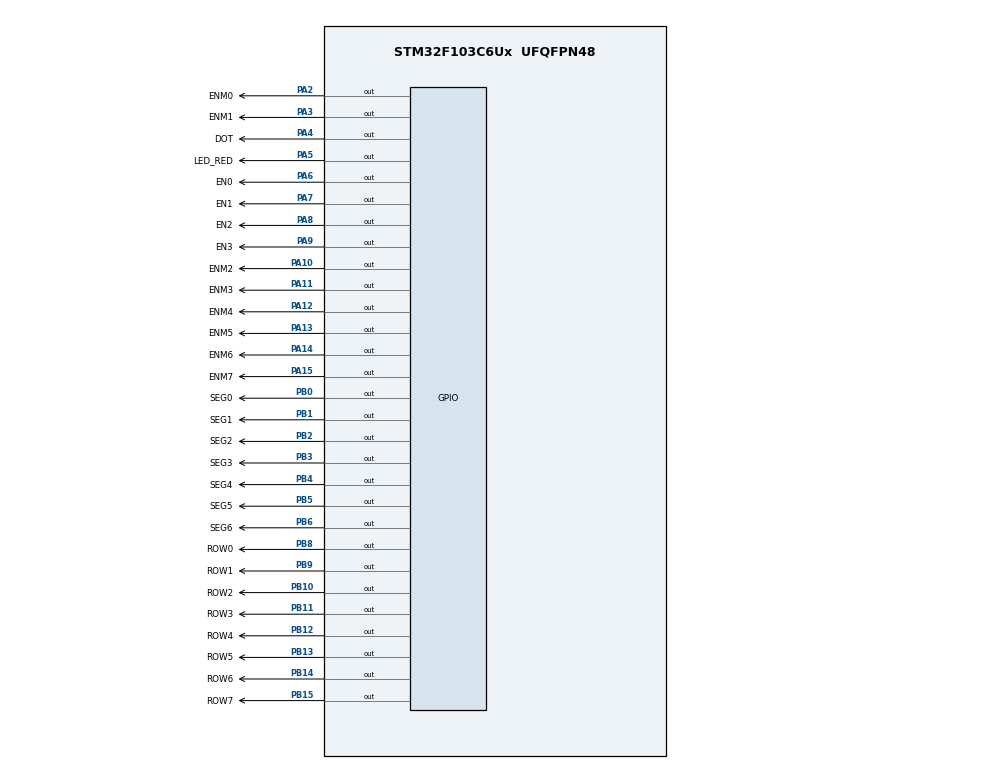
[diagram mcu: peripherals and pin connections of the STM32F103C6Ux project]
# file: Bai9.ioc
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Mcu.Family=STM32F1
Mcu.Name=STM32F103C6Ux
Mcu.Package=UFQFPN48
NVIC.PriorityGroup=NVIC_PRIORITYGROUP_4
NVIC.TIM2_IRQn=true\:0\:0\:false\:false\:true\:true\:true\:true
PA10.GPIO_Label=ENM2
PA10.Signal=GPIO_Output
PA11.GPIO_Label=ENM3
PA11.Signal=GPIO_Output
PA12.GPIO_Label=ENM4
PA12.Signal=GPIO_Output
PA13.GPIO_Label=ENM5
PA13.Signal=GPIO_Output
PA14.GPIO_Label=ENM6
PA14.Signal=GPIO_Output
PA15.GPIO_Label=ENM7
PA15.Signal=GPIO_Output
PA2.GPIO_Label=ENM0
PA2.Signal=GPIO_Output
PA3.GPIO_Label=ENM1
PA3.Signal=GPIO_Output
PA4.GPIO_Label=DOT
PA4.Signal=GPIO_Output
PA5.GPIO_Label=LED_RED
PA5.Signal=GPIO_Output
PA6.GPIO_Label=EN0
PA6.Signal=GPIO_Output
PA7.GPIO_Label=EN1
PA7.Signal=GPIO_Output
PA8.GPIO_Label=EN2
PA8.Signal=GPIO_Output
PA9.GPIO_Label=EN3
PA9.Signal=GPIO_Output
PB0.GPIO_Label=SEG0
PB0.Signal=GPIO_Output
PB1.GPIO_Label=SEG1
PB1.Signal=GPIO_Output
PB10.GPIO_Label=ROW2
PB10.Signal=GPIO_Output
PB11.GPIO_Label=ROW3
PB11.Signal=GPIO_Output
PB12.GPIO_Label=ROW4
PB12.Signal=GPIO_Output
PB13.GPIO_Label=ROW5
PB13.Signal=GPIO_Output
PB14.GPIO_Label=ROW6
PB14.Signal=GPIO_Output
PB15.GPIO_Label=ROW7
PB15.Signal=GPIO_Output
PB2.GPIO_Label=SEG2
PB2.Signal=GPIO_Output
PB3.GPIO_Label=SEG3
PB3.Signal=GPIO_Output
PB4.GPIO_Label=SEG4
PB4.Signal=GPIO_Output
PB5.GPIO_Label=SEG5
PB5.Signal=GPIO_Output
PB6.GPIO_Label=SEG6
PB6.Signal=GPIO_Output
PB8.GPIO_Label=ROW0
PB8.Signal=GPIO_Output
PB9.GPIO_Label=ROW1
PB9.Signal=GPIO_Output
ProjectManager.HeapSize=0x200
ProjectManager.StackSize=0x400
ProjectManager.TargetToolchain=STM32CubeIDE
RCC.APB1Freq_Value=8000000
RCC.APB2Freq_Value=8000000
TIM2.Period=9
TIM2.Prescaler=7999
VP_SYS_VS_ND.Mode=No_Debug
VP_TIM2_VS_ClockSourceINT.Mode=Internal
board=custom

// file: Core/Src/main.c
/* USER CODE BEGIN Header */
/**
 ******************************************************************************
 * @file           : main.c
 * @brief          : Main program body
 ******************************************************************************
 * @attention
 *
 * Copyright (c) 2022 STMicroelectronics.
 * All rights reserved.
 *
 * This software is licensed under terms that can be found in the LICENSE file
 * in the root directory of this software component.
 * If no LICENSE file comes with this software, it is provided AS-IS.
 *
 ******************************************************************************
 */
/* USER CODE END Header */
#include "main.h"

TIM_HandleTypeDef htim2;

void SystemClock_Config(void);
static void MX_GPIO_Init(void);
static void MX_TIM2_Init(void);

/* USER CODE BEGIN 0 */

int timer0_counter = 0;
int timer0_flag = 0;
int TIMER_CYCLE = 10;
void setTimer0(int duration) {
	timer0_counter = duration / TIMER_CYCLE;
	timer0_flag = 0;
}

void timer_run() {
	if (timer0_counter > 0) {
		timer0_counter--;
		if (timer0_counter == 0)
			timer0_flag = 1;
	}
}

void clearLEDMatrix() {
	HAL_GPIO_WritePin(ROW0_GPIO_Port, ROW0_Pin, 1);
	HAL_GPIO_WritePin(ROW1_GPIO_Port, ROW1_Pin, 1);
	HAL_GPIO_WritePin(ROW2_GPIO_Port, ROW2_Pin, 1);
	HAL_GPIO_WritePin(ROW3_GPIO_Port, ROW3_Pin, 1);
	HAL_GPIO_WritePin(ROW4_GPIO_Port, ROW4_Pin, 1);
	HAL_GPIO_WritePin(ROW5_GPIO_Port, ROW5_Pin, 1);
	HAL_GPIO_WritePin(ROW6_GPIO_Port, ROW6_Pin, 1);
	HAL_GPIO_WritePin(ROW7_GPIO_Port, ROW7_Pin, 1);
}

void displayLEDMatrix(uint8_t num) {
	HAL_GPIO_WritePin(ENM0_GPIO_Port, ENM0_Pin, !((num >> 0)&1));
	HAL_GPIO_WritePin(ENM1_GPIO_Port, ENM1_Pin, !((num >> 1)&1));
	HAL_GPIO_WritePin(ENM2_GPIO_Port, ENM2_Pin, !((num >> 2)&1));
	HAL_GPIO_WritePin(ENM3_GPIO_Port, ENM3_Pin, !((num >> 3)&1));
	HAL_GPIO_WritePin(ENM4_GPIO_Port, ENM4_Pin, !((num >> 4)&1));
	HAL_GPIO_WritePin(ENM5_GPIO_Port, ENM5_Pin, !((num >> 5)&1));
	HAL_GPIO_WritePin(ENM6_GPIO_Port, ENM6_Pin, !((num >> 6)&1));
	HAL_GPIO_WritePin(ENM7_GPIO_Port, ENM7_Pin, !((num >> 7)&1));
}

const int MAX_LED_MATRIX = 8;
int index_led_matrix = 0;
uint8_t matrix_buffer[8] = { 0x18, 0x24, 0x42, 0x42, 0x7E, 0x42, 0x42, 0x42 }; //matrix_buffer of character "A"
void updateLEDMatrix(int index) {
	switch (index) {
	case 0:
		//display led on ROW 0
		HAL_GPIO_WritePin(ROW7_GPIO_Port, ROW7_Pin, 1);
		HAL_GPIO_WritePin(ROW0_GPIO_Port, ROW0_Pin, 0);
		displayLEDMatrix(matrix_buffer[index]);
		break;
	case 1:
		//display led on ROW 1
		HAL_GPIO_WritePin(ROW0_GPIO_Port, ROW0_Pin, 1);
		HAL_GPIO_WritePin(ROW1_GPIO_Port, ROW1_Pin, 0);
		displayLEDMatrix(matrix_buffer[index]);
		break;
	case 2:
		//display led on ROW 2
		HAL_GPIO_WritePin(ROW1_GPIO_Port, ROW1_Pin, 1);
		HAL_GPIO_WritePin(ROW2_GPIO_Port, ROW2_Pin, 0);
		displayLEDMatrix(matrix_buffer[index]);
		break;
	case 3:
		//display led on ROW 3
		HAL_GPIO_WritePin(ROW2_GPIO_Port, ROW2_Pin, 1);
		HAL_GPIO_WritePin(ROW3_GPIO_Port, ROW3_Pin, 0);
		displayLEDMatrix(matrix_buffer[index]);
		break;
	case 4:
		//display led on ROW 4
		HAL_GPIO_WritePin(ROW3_GPIO_Port, ROW3_Pin, 1);
		HAL_GPIO_WritePin(ROW4_GPIO_Port, ROW4_Pin, 0);
		displayLEDMatrix(matrix_buffer[index]);
		break;
	case 5:
		//display led on ROW 5
		HAL_GPIO_WritePin(ROW4_GPIO_Port, ROW4_Pin, 1);
		HAL_GPIO_WritePin(ROW5_GPIO_Port, ROW5_Pin, 0);
		displayLEDMatrix(matrix_buffer[index]);
		break;
	case 6:
		//display led on ROW 6
		HAL_GPIO_WritePin(ROW5_GPIO_Port, ROW5_Pin, 1);
		HAL_GPIO_WritePin(ROW6_GPIO_Port, ROW6_Pin, 0);
		displayLEDMatrix(matrix_buffer[index]);
		break;
	case 7:
		//display led on ROW 7
		HAL_GPIO_WritePin(ROW6_GPIO_Port, ROW6_Pin, 1);
		HAL_GPIO_WritePin(ROW7_GPIO_Port, ROW7_Pin, 0);
		displayLEDMatrix(matrix_buffer[index]);
		break;
	default:
		break;
	}
}
/* USER CODE END 0 */

int main(void) {

	/* MCU Configuration--------------------------------------------------------*/

	/* Reset of all peripherals, Initializes the Flash interface and the Systick. */
	HAL_Init();

	/* Configure the system clock */
	SystemClock_Config();

	/* Initialize all configured peripherals */
	MX_GPIO_Init();
	MX_TIM2_Init();
	/* USER CODE BEGIN 2 */
	HAL_TIM_Base_Start_IT(&htim2);
	/* USER CODE END 2 */

	/* Infinite loop */
	/* USER CODE BEGIN WHILE */

	setTimer0(10);
	int index = 0;
	clearLEDMatrix();
	while (1) {
		if (timer0_flag == 1) {
			setTimer0(10);
			updateLEDMatrix(index++);
			if (index > 7)
				index = 0;
		}

		/* USER CODE END WHILE */

	}
}

void SystemClock_Config(void) {
	RCC_OscInitTypeDef RCC_OscInitStruct = { 0 };
	RCC_ClkInitTypeDef RCC_ClkInitStruct = { 0 };

	/** Initializes the RCC Oscillators according to the specified parameters
	 * in the RCC_OscInitTypeDef structure.
	 */
	RCC_OscInitStruct.OscillatorType = RCC_OSCILLATORTYPE_HSI;
	RCC_OscInitStruct.HSIState = RCC_HSI_ON;
	RCC_OscInitStruct.HSICalibrationValue = RCC_HSICALIBRATION_DEFAULT;
	RCC_OscInitStruct.PLL.PLLState = RCC_PLL_NONE;
	if (HAL_RCC_OscConfig(&RCC_OscInitStruct) != HAL_OK) {
		Error_Handler();
	}

	/** Initializes the CPU, AHB and APB buses clocks
	 */
	RCC_ClkInitStruct.ClockType = RCC_CLOCKTYPE_HCLK | RCC_CLOCKTYPE_SYSCLK
			| RCC_CLOCKTYPE_PCLK1 | RCC_CLOCKTYPE_PCLK2;
	RCC_ClkInitStruct.SYSCLKSource = RCC_SYSCLKSOURCE_HSI;
	RCC_ClkInitStruct.AHBCLKDivider = RCC_SYSCLK_DIV1;
	RCC_ClkInitStruct.APB1CLKDivider = RCC_HCLK_DIV1;
	RCC_ClkInitStruct.APB2CLKDivider = RCC_HCLK_DIV1;

	if (HAL_RCC_ClockConfig(&RCC_ClkInitStruct, FLASH_LATENCY_0) != HAL_OK) {
		Error_Handler();
	}
}

static void MX_TIM2_Init(void) {

	TIM_ClockConfigTypeDef sClockSourceConfig = { 0 };
	TIM_MasterConfigTypeDef sMasterConfig = { 0 };

	htim2.Instance = TIM2;
	htim2.Init.Prescaler = 7999;
	htim2.Init.CounterMode = TIM_COUNTERMODE_UP;
	htim2.Init.Period = 9;
	htim2.Init.ClockDivision = TIM_CLOCKDIVISION_DIV1;
	htim2.Init.AutoReloadPreload = TIM_AUTORELOAD_PRELOAD_DISABLE;
	if (HAL_TIM_Base_Init(&htim2) != HAL_OK) {
		Error_Handler();
	}
	sClockSourceConfig.ClockSource = TIM_CLOCKSOURCE_INTERNAL;
	if (HAL_TIM_ConfigClockSource(&htim2, &sClockSourceConfig) != HAL_OK) {
		Error_Handler();
	}
	sMasterConfig.MasterOutputTrigger = TIM_TRGO_RESET;
	sMasterConfig.MasterSlaveMode = TIM_MASTERSLAVEMODE_DISABLE;
	if (HAL_TIMEx_MasterConfigSynchronization(&htim2, &sMasterConfig)
			!= HAL_OK) {
		Error_Handler();
	}

}

static void MX_GPIO_Init(void) {
	GPIO_InitTypeDef GPIO_InitStruct = { 0 };

	/* GPIO Ports Clock Enable */
	__HAL_RCC_GPIOA_CLK_ENABLE();
	__HAL_RCC_GPIOB_CLK_ENABLE();

	/*Configure GPIO pin Output Level */
	HAL_GPIO_WritePin(GPIOA,
			ENM0_Pin | ENM1_Pin | DOT_Pin | LED_RED_Pin | EN0_Pin | EN1_Pin
					| EN2_Pin | EN3_Pin | ENM2_Pin | ENM3_Pin | ENM4_Pin
					| ENM5_Pin | ENM6_Pin | ENM7_Pin, GPIO_PIN_RESET);

	/*Configure GPIO pin Output Level */
	HAL_GPIO_WritePin(GPIOB,
			SEG0_Pin | SEG1_Pin | SEG2_Pin | ROW2_Pin | ROW3_Pin | ROW4_Pin
					| ROW5_Pin | ROW6_Pin | ROW7_Pin | SEG3_Pin | SEG4_Pin
					| SEG5_Pin | SEG6_Pin | ROW0_Pin | ROW1_Pin,
			GPIO_PIN_RESET);

	/*Configure GPIO pins : ENM0_Pin ENM1_Pin DOT_Pin LED_RED_Pin
	 EN0_Pin EN1_Pin EN2_Pin EN3_Pin
	 ENM2_Pin ENM3_Pin ENM4_Pin ENM5_Pin
	 ENM6_Pin ENM7_Pin */
	GPIO_InitStruct.Pin = ENM0_Pin | ENM1_Pin | DOT_Pin | LED_RED_Pin | EN0_Pin
			| EN1_Pin | EN2_Pin | EN3_Pin | ENM2_Pin | ENM3_Pin | ENM4_Pin
			| ENM5_Pin | ENM6_Pin | ENM7_Pin;
	GPIO_InitStruct.Mode = GPIO_MODE_OUTPUT_PP;
	GPIO_InitStruct.Pull = GPIO_NOPULL;
	GPIO_InitStruct.Speed = GPIO_SPEED_FREQ_LOW;
	HAL_GPIO_Init(GPIOA, &GPIO_InitStruct);

	/*Configure GPIO pins : SEG0_Pin SEG1_Pin SEG2_Pin ROW2_Pin
	 ROW3_Pin ROW4_Pin ROW5_Pin ROW6_Pin
	 ROW7_Pin SEG3_Pin SEG4_Pin SEG5_Pin
	 SEG6_Pin ROW0_Pin ROW1_Pin */
	GPIO_InitStruct.Pin = SEG0_Pin | SEG1_Pin | SEG2_Pin | ROW2_Pin | ROW3_Pin
			| ROW4_Pin | ROW5_Pin | ROW6_Pin | ROW7_Pin | SEG3_Pin | SEG4_Pin
			| SEG5_Pin | SEG6_Pin | ROW0_Pin | ROW1_Pin;
	GPIO_InitStruct.Mode = GPIO_MODE_OUTPUT_PP;
	GPIO_InitStruct.Pull = GPIO_NOPULL;
	GPIO_InitStruct.Speed = GPIO_SPEED_FREQ_LOW;
	HAL_GPIO_Init(GPIOB, &GPIO_InitStruct);

}

/* USER CODE BEGIN 4 */
void HAL_TIM_PeriodElapsedCallback(TIM_HandleTypeDef *htim) {
	timer_run();
}
/* USER CODE END 4 */

void Error_Handler(void) {
	__disable_irq();
	while (1) {
	}
}
